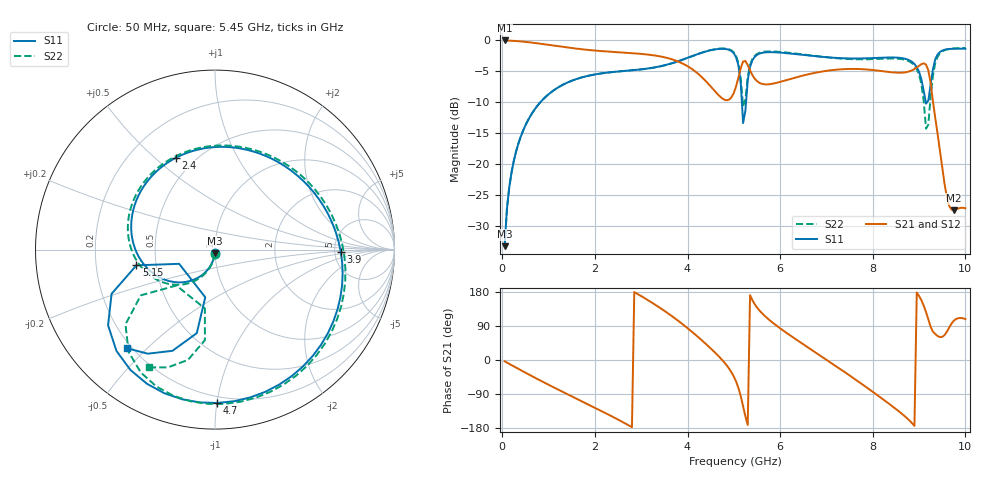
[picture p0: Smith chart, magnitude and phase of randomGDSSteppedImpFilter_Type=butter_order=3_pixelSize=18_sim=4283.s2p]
! freq	dB(S11)	phase(S11)	dB(S12)	phase(S12)
!  dB(S21)	phase(S21)	dB(S22)	phase(S22)
!S-par simulation data
#  GHz  S  DB  R 50
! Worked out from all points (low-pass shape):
!   200 points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, 50 MHz to 10 GHz, reference 50 ohm
!   highest |S21| = -0.01 dB at 50 MHz (marker M1); lowest = -27.4 dB at 9.75 GHz (marker M2)
!   |S21| within 3 dB of the highest: start of sweep to 3.644 GHz
!   lowest |S11| = -33.2 dB at 50 MHz (marker M3), VSWR 1.04, Z = 49.8 - j2.17 ohm
!   |S11| at or under -10 dB: start of sweep to 821.6 MHz; 5.174 GHz to 5.264 GHz (90.08 MHz wide, 1.73 % of centre); 9.144624 GHz to 9.171298 GHz (26.67 MHz wide, 0.291 % of centre)
!   |S22| runs from -33.2 to -1.2 dB; largest |S21 - S12| = 0
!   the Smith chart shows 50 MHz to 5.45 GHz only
!   S11 on the Smith chart (normalised r, x): 50 MHz: 1.00, -0.04; 2.4 GHz: 0.40, +0.59; 3.9 GHz: 5.67, -0.26; 4.7 GHz: 0.16, -1.00; 5.15 GHz: 0.39, -0.08; 5.45 GHz: 0.18, -0.44
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0.05  -33.25 -93.4  -0.01 -3.4  -0.01 -3.4  -33.24 -93.2
0.2  -21.30 -104.3  -0.05 -13.6  -0.05 -13.6  -21.30 -103.2
0.5  -13.72 -125.3  -0.24 -33.5  -0.24 -33.5  -13.72 -122.6
1.75  -5.91 154.0  -1.45 -110.9  -1.45 -110.9  -5.91 163.1
2.4  -5.09 112.9  -1.86 -150.8  -1.86 -150.8  -5.10 124.5
3.4  -4.20 42.2  -2.57 138.0  -2.57 138.0  -4.22 52.8
3.9  -3.09 -0.9  -3.75 93.9  -3.75 93.9  -3.11 6.9
4.7  -1.37 -89.1  -9.06 6.4  -9.06 6.4  -1.32 -80.5
5.05  -2.73 -144.7  -7.39 -57.2  -7.39 -57.2  -2.54 -130.2
5.15  -7.00 -168.7  -4.45 -95.8  -4.45 -95.8  -6.28 -148.4
5.25  -11.34 -101.6  -3.33 -149.0  -3.33 -149.0  -9.56 -99.7
5.45  -2.65 -131.7  -6.17 147.3  -6.17 147.3  -2.49 -119.1
5.95  -1.94 168.6  -6.80 88.0  -6.80 88.0  -1.83 -168.2
6.7  -2.51 99.2  -5.32 25.2  -5.32 25.2  -2.46 135.0
7.5  -2.91 31.6  -4.61 -40.8  -4.61 -40.8  -3.02 69.3
8.35  -2.75 -34.9  -5.10 -115.4  -5.10 -115.4  -2.93 -13.4
8.85  -3.48 -77.7  -4.83 -167.0  -4.83 -167.0  -3.69 -68.2
9.05  -6.31 -97.0  -3.83 157.5  -3.83 157.5  -7.08 -96.3
9.2  -9.70 -63.0  -4.84 106.9  -4.84 106.9  -13.59 -40.2
9.35  -3.03 -64.3  -12.57 68.5  -12.57 68.5  -3.63 -43.8
9.75  -1.34 -112.2  -27.43 103.8  -27.43 103.8  -1.30 -97.2
10  -1.34 -132.2  -27.13 108.2  -27.13 108.2  -1.21 -116.0
